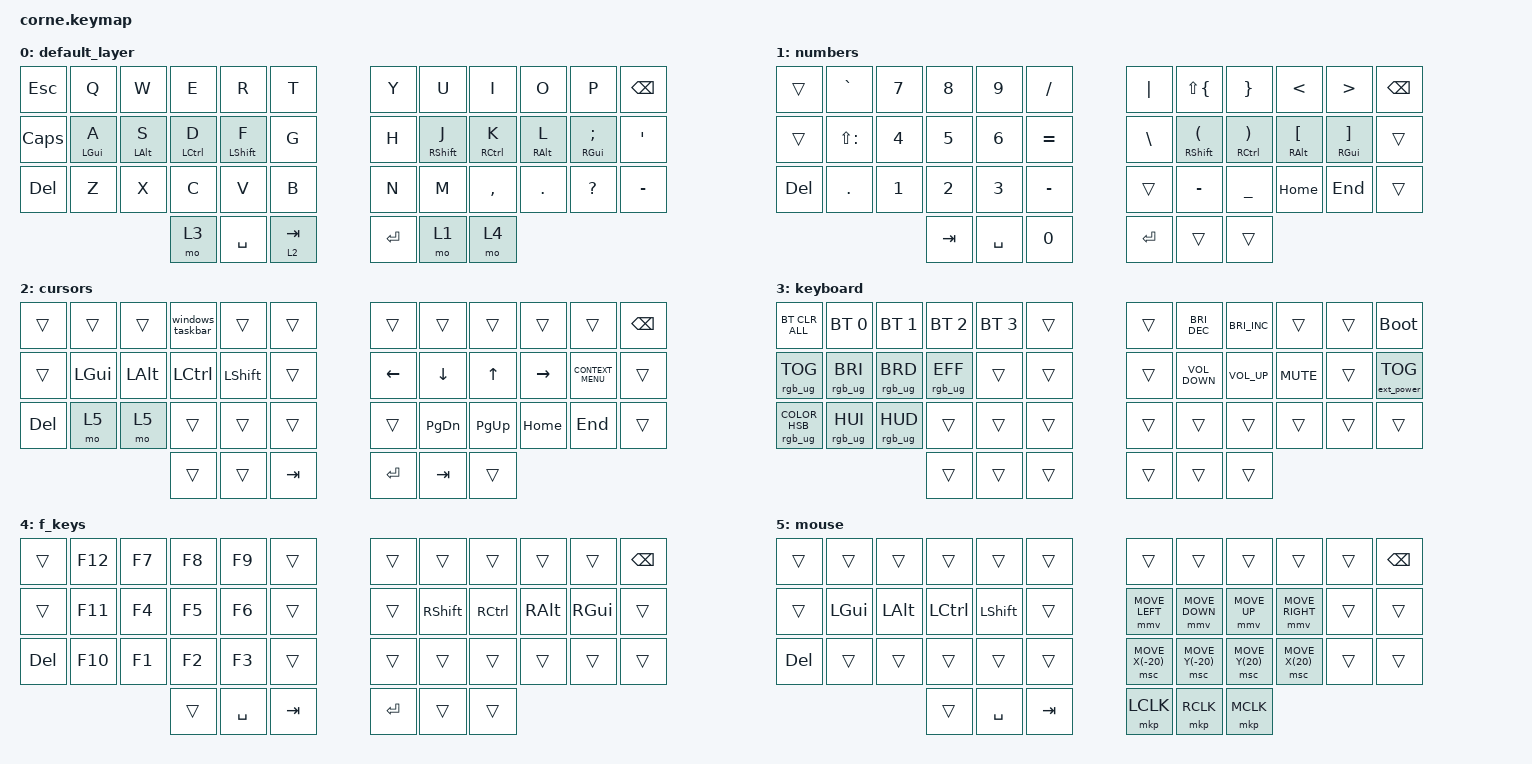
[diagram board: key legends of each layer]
/*
 * Copyright (c) 2020 The ZMK Contributors
 *
 * SPDX-License-Identifier: MIT
 */

#include <behaviors.dtsi>
#include <dt-bindings/zmk/bt.h>
#include <dt-bindings/zmk/ext_power.h>
#include <dt-bindings/zmk/keys.h>
#include <dt-bindings/zmk/pointing.h>
#include <dt-bindings/zmk/rgb.h>

/ {
    behaviors {
        hm: homerow_mods {
            compatible = "zmk,behavior-hold-tap";
            label = "HOMEROW_MODS";
            #binding-cells = <2>;
            tapping-term-ms = <200>;
            flavor = "tap-preferred";
            bindings = <&kp>, <&kp>;

            quick-tap-ms = <180>;
        };

        ltq: ltq {
            compatible = "zmk,behavior-hold-tap";
            label = "LTQ";
            bindings = <&mo>, <&kp>;

            #binding-cells = <2>;
            tapping-term-ms = <600>;
            global-quick-tap;
            quick-tap-ms = <400>;
        };

        mtp: mod-tap-new {
            compatible = "zmk,behavior-hold-tap";
            label = "MOD-TAP-NEW";
            #binding-cells = <2>;
            tapping-term-ms = <200>;
            flavor = "tap-preferred";
            bindings = <&mo>, <&kp>;

            quick-tap-ms = <180>;
        };
    };

    combos {
        compatible = "zmk,combos";

        left_bkt {
            bindings = <&kp LEFT_BRACKET>;
            key-positions = <4 3>;
            timeout-ms = <50>;
        };

        right_bkt {
            bindings = <&kp RBKT>;
            key-positions = <7 8>;
            timeout-ms = <50>;
        };

        left_par {
            bindings = <&kp LEFT_PARENTHESIS>;
            key-positions = <15 16>;
            timeout-ms = <50>;
        };

        right_par {
            bindings = <&kp RIGHT_PARENTHESIS>;
            key-positions = <19 20>;
            timeout-ms = <50>;
        };

        left_brace {
            bindings = <&kp LEFT_BRACE>;
            key-positions = <27 28>;
            timeout-ms = <50>;
        };

        right_brace {
            bindings = <&kp RIGHT_BRACE>;
            key-positions = <32 31>;
            timeout-ms = <50>;
        };

        bac {
            bindings = <&kp BACKSLASH>;
            key-positions = <5 6>;
        };

        pipe {
            bindings = <&kp PIPE>;
            key-positions = <17 18>;
        };
    };

    macros {
        windows_taskbar: windows_taskbar {
            compatible = "zmk,behavior-macro";
            #binding-cells = <0>;
            bindings = <&kp LG(B) &kp LS(TAB)>;
            label = "WINDOWS_TASKBAR";
        };
    };

    keymap {
        compatible = "zmk,keymap";

        default_layer {
            bindings = <
&kp ESC   &kp Q           &kp W           &kp E        &kp R             &kp T       &kp Y    &kp U         &kp I        &kp O            &kp P               &kp BSPC
&kp CAPS  &hm LEFT_GUI A  &hm LEFT_ALT S  &hm LCTRL D  &hm LEFT_SHIFT F  &kp G       &kp H    &hm RSHIFT J  &hm RCTRL K  &hm RIGHT_ALT L  &hm RGUI SEMICOLON  &kp SQT
&kp DEL   &kp Z           &kp X           &kp C        &kp V             &kp B       &kp N    &kp M         &kp COMMA    &kp DOT          &kp QUESTION        &kp MINUS
                                          &mo 3        &kp SPACE         &mtp 2 TAB  &kp RET  &mo 1         &mo 4
            >;
        };

        numbers {
            bindings = <
&trans   &kp GRAVE      &kp N7  &kp N8   &kp N9     &kp FSLH   &kp PIPE   &kp LS(LEFT_BRACE)                &kp RIGHT_BRACE                      &kp LESS_THAN               &kp GREATER_THAN             &kp BACKSPACE
&trans   &kp LS(COLON)  &kp N4  &kp N5   &kp N6     &kp EQUAL  &kp BSLH   &hm RIGHT_SHIFT LEFT_PARENTHESIS  &hm RIGHT_CONTROL RIGHT_PARENTHESIS  &hm RIGHT_ALT LEFT_BRACKET  &hm RIGHT_GUI RIGHT_BRACKET  &trans
&kp DEL  &kp DOT        &kp N1  &kp N2   &kp N3     &kp MINUS  &trans     &kp MINUS                         &kp UNDERSCORE                       &kp HOME                    &kp END                      &trans
                                &kp TAB  &kp SPACE  &kp N0     &kp ENTER  &trans                            &trans
            >;
        };

        cursors {
            bindings = <
&trans   &trans    &trans    &windows_taskbar  &trans     &trans   &trans    &trans     &trans     &trans     &trans              &kp BSPC
&trans   &kp LGUI  &kp LALT  &kp LCTRL         &kp LSHFT  &trans   &kp LEFT  &kp DOWN   &kp UP     &kp RIGHT  &kp K_CONTEXT_MENU  &trans
&kp DEL  &mo 5     &mo 5     &trans            &trans     &trans   &trans    &kp PG_DN  &kp PG_UP  &kp HOME   &kp END             &trans
                             &trans            &trans     &kp TAB  &kp RET   &kp TAB    &trans
            >;
        };

        keyboard {
            bindings = <
&bt BT_CLR_ALL                   &bt BT_SEL 0     &bt BT_SEL 1     &bt BT_SEL 2     &bt BT_SEL 3  &trans  &trans  &kp C_BRIGHTNESS_DEC  &kp C_BRIGHTNESS_INC  &trans      &trans  &bootloader
&rgb_ug RGB_TOG                  &rgb_ug RGB_BRI  &rgb_ug RGB_BRD  &rgb_ug RGB_EFF  &trans        &trans  &trans  &kp C_VOLUME_DOWN     &kp C_VOLUME_UP       &kp C_MUTE  &trans  &ext_power EP_TOG
&rgb_ug RGB_COLOR_HSB(0,100,99)  &rgb_ug RGB_HUI  &rgb_ug RGB_HUD  &trans           &trans        &trans  &trans  &trans                &trans                &trans      &trans  &trans
                                                                   &trans           &trans        &trans  &trans  &trans                &trans
            >;
        };

        f_keys {
            bindings = <
&trans   &kp F12  &kp F7  &kp F8  &kp F9     &trans   &trans     &trans     &trans     &trans    &trans    &kp BSPC
&trans   &kp F11  &kp F4  &kp F5  &kp F6     &trans   &trans     &kp RSHFT  &kp RCTRL  &kp RALT  &kp RGUI  &trans
&kp DEL  &kp F10  &kp F1  &kp F2  &kp F3     &trans   &trans     &trans     &trans     &trans    &trans    &trans
                          &trans  &kp SPACE  &kp TAB  &kp ENTER  &trans     &trans
            >;
        };

        mouse {
            bindings = <
&trans   &trans    &trans    &trans     &trans     &trans   &trans            &trans            &trans           &trans           &trans  &kp BSPC
&trans   &kp LGUI  &kp LALT  &kp LCTRL  &kp LSHFT  &trans   &mmv MOVE_LEFT    &mmv MOVE_DOWN    &mmv MOVE_UP     &mmv MOVE_RIGHT  &trans  &trans
&kp DEL  &trans    &trans    &trans     &trans     &trans   &msc MOVE_X(-20)  &msc MOVE_Y(-20)  &msc MOVE_Y(20)  &msc MOVE_X(20)  &trans  &trans
                             &trans     &kp SPACE  &kp TAB  &mkp LCLK         &mkp RCLK         &mkp MCLK
            >;
        };
    };
};

&led_strip { chain-length = <64>; };
